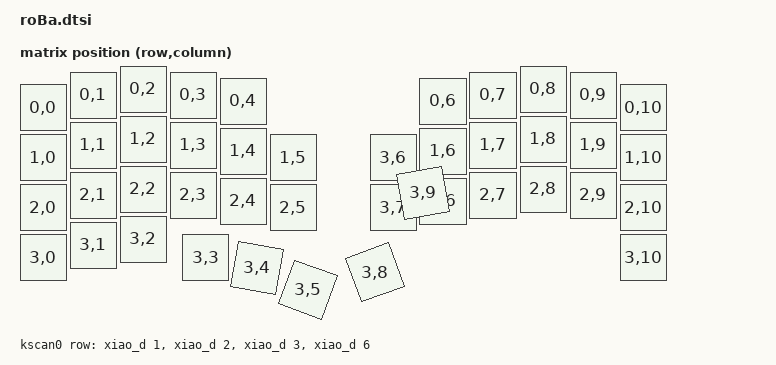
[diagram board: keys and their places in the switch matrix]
#include <dt-bindings/zmk/matrix_transform.h>
#include <physical_layouts.dtsi>
#include <zephyr/dt-bindings/input/input-event-codes.h>

/ {
    chosen {
        zmk,physical-layout = &roba_physical_layout;
    };

    roba_physical_layout: roba_physical_layout {
        compatible = "zmk,physical-layout";
        display-name = "Default";
        transform = <&default_transform>;
        kscan = <&kscan0>;

        keys  //                     w   h    x    y     rot    rx    ry
            = <&key_physical_attrs 100 100    0   37       0     0     0>
            , <&key_physical_attrs 100 100  100   12       0     0     0>
            , <&key_physical_attrs 100 100  200    0       0     0     0>
            , <&key_physical_attrs 100 100  300   12       0     0     0>
            , <&key_physical_attrs 100 100  400   24       0     0     0>

            , <&key_physical_attrs 100 100  800   24       0     0     0>
            , <&key_physical_attrs 100 100  900   12       0     0     0>
            , <&key_physical_attrs 100 100 1000    0       0     0     0>
            , <&key_physical_attrs 100 100 1100   12       0     0     0>
            , <&key_physical_attrs 100 100 1200   37       0     0     0>

            , <&key_physical_attrs 100 100    0  137       0     0     0>
            , <&key_physical_attrs 100 100  100  112       0     0     0>
            , <&key_physical_attrs 100 100  200  100       0     0     0>
            , <&key_physical_attrs 100 100  300  112       0     0     0>
            , <&key_physical_attrs 100 100  400  124       0     0     0>
            , <&key_physical_attrs 100 100  500  137       0     0     0>

            , <&key_physical_attrs 100 100  700  137       0     0     0>
            , <&key_physical_attrs 100 100  800  124       0     0     0>
            , <&key_physical_attrs 100 100  900  112       0     0     0>
            , <&key_physical_attrs 100 100 1000  100       0     0     0>
            , <&key_physical_attrs 100 100 1100  112       0     0     0>
            , <&key_physical_attrs 100 100 1200  137       0     0     0>

            , <&key_physical_attrs 100 100    0  237       0     0     0>
            , <&key_physical_attrs 100 100  100  212       0     0     0>
            , <&key_physical_attrs 100 100  200  200       0     0     0>
            , <&key_physical_attrs 100 100  300  212       0     0     0>
            , <&key_physical_attrs 100 100  400  224       0     0     0>
            , <&key_physical_attrs 100 100  500  237       0     0     0>

            , <&key_physical_attrs 100 100  700  237       0     0     0>
            , <&key_physical_attrs 100 100  800  224       0     0     0>
            , <&key_physical_attrs 100 100  900  212       0     0     0>
            , <&key_physical_attrs 100 100 1000  200       0     0     0>
            , <&key_physical_attrs 100 100 1100  212       0     0     0>
            , <&key_physical_attrs 100 100 1200  237       0     0     0>

            , <&key_physical_attrs 100 100    0  337       0     0     0>
            , <&key_physical_attrs 100 100  100  312       0     0     0>
            , <&key_physical_attrs 100 100  200  300       0     0     0>
            , <&key_physical_attrs 100 100  325  337       0     0     0>
            , <&key_physical_attrs 100 100  437  350    1000   437   350>
            , <&key_physical_attrs 100 100  550  387    2000   550   387>



            , <&key_physical_attrs 100 100  650  387 (-2000)   650   387>
            , <&key_physical_attrs 100 100  763  350 (-1000)     0   350>

            , <&key_physical_attrs 100 100 1200  337       0     0     0>

            ;
    };

    default_transform: keymap_transform_0 {
        compatible = "zmk,matrix-transform";
        columns = <11>;
        rows = <4>;
        map = <
            RC(0,0) RC(0,1) RC(0,2) RC(0,3) RC(0,4)                     RC(0,6) RC(0,7) RC(0,8) RC(0,9) RC(0,10)
            RC(1,0) RC(1,1) RC(1,2) RC(1,3) RC(1,4) RC(1,5)     RC(3,6) RC(1,6) RC(1,7) RC(1,8) RC(1,9) RC(1,10)
            RC(2,0) RC(2,1) RC(2,2) RC(2,3) RC(2,4) RC(2,5)     RC(3,7) RC(2,6) RC(2,7) RC(2,8) RC(2,9) RC(2,10)
            RC(3,0) RC(3,1) RC(3,2) RC(3,3) RC(3,4) RC(3,5)     RC(3,8) RC(3,9)                         RC(3,10)
        >;
    };

    kscan0: kscan {
        compatible = "zmk,kscan-gpio-matrix";
        label = "KSCAN";
        diode-direction = "col2row";
            row-gpios
                = <&xiao_d 1 (GPIO_ACTIVE_HIGH | GPIO_PULL_DOWN)>
                , <&xiao_d 2 (GPIO_ACTIVE_HIGH | GPIO_PULL_DOWN)>
                , <&xiao_d 3 (GPIO_ACTIVE_HIGH | GPIO_PULL_DOWN)>
                , <&xiao_d 6 (GPIO_ACTIVE_HIGH | GPIO_PULL_DOWN)>
                ;
    };

    // 左手ロータリーエンコーダ。
    // 以前は alps,ec11 (エッジ割り込みで1発ずつデコード) を使っていたが、
    // 接点のチャタリングで頻繁に取りこぼす/逆回転を誤検出することが実機ログで
    // 確認されたため、Zephyr の gpio-qdec (一定間隔でA/Bをポーリングしてデコード
    // するため接点バウンスに強い) に置き換えた。
    // steps-per-period = 1デテントあたりのA/B変化エッジ数(4)。
    left_encoder_qdec: encoder_left_qdec {
        compatible = "gpio-qdec";
        gpios = <&xiao_d 5 (GPIO_ACTIVE_HIGH | GPIO_PULL_UP)>, <&xiao_d 0 (GPIO_ACTIVE_HIGH | GPIO_PULL_UP)>;
        steps-per-period = <4>;
        zephyr,axis = <INPUT_REL_WHEEL>;
        sample-time-us = <2000>;
        idle-timeout-ms = <200>;
        status = "disabled";
    };

    // 左手(ペリフェラル)のポインティングデバイスを右手(セントラル)へ転送するための
    // input-split。zmk,input-split の子ノードはそれぞれ一意な reg 値が必要。
    split_inputs {
        #address-cells = <1>;
        #size-cells = <0>;

        left_encoder_split: left_encoder_split@0 {
            compatible = "zmk,input-split";
            reg = <0>;
        };
    };

    // セントラル側でのみ有効化するリスナー。キーマップ側から参照できるよう
    // 両ビルドでノード自体は存在させ、既定では無効化しておく。
    left_encoder_listener: left_encoder_listener {
        compatible = "zmk,input-listener";
        status = "disabled";
        device = <&left_encoder_split>;
    };

    trackball_listener: trackball_listener {
        compatible = "zmk,input-listener";
        status = "disabled";
    };
};

&spi0 {
    status = "disabled";

    trackball: trackball@0 {
        status = "disabled";
        reg = <0>;
    };
};
